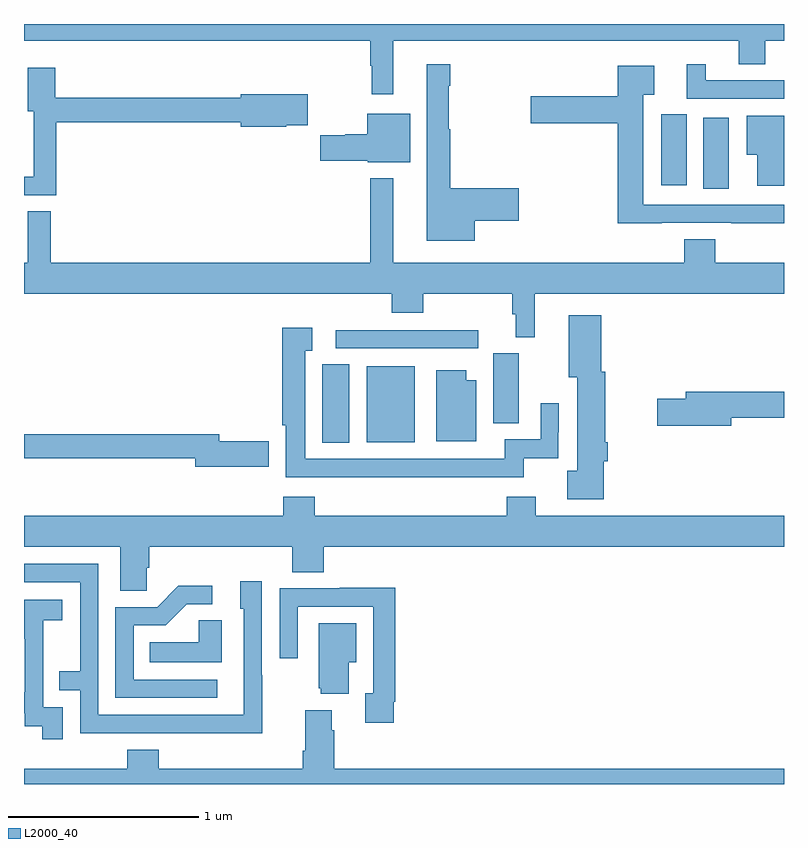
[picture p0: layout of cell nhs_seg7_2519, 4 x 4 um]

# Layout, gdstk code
import gdstk
lib = gdstk.Library(unit=1e-6, precision=1e-09)
def R(c, l, rs):  # rectangles x0, y0, x1, y1
    for r in rs: c.add(gdstk.rectangle(r[:2], r[2:], *l))
def P(c, l, *ps):  # polygons
    for p in ps: c.add(gdstk.Polygon(p, *l))
L2000_40 = (2000, 40)

nhs_seg7_2519 = lib.new_cell('nhs_seg7_2519')
R(nhs_seg7_2519, L2000_40, [(276.569,1035.796,276.712,1036.208), (276.803,1035.8,277.057,1036.198), (277.469,1035.899,277.603,1036.266), (276.642,1036.293,277.39,1036.389), (278.576,1037.134,278.71,1037.506), (278.354,1037.151,278.488,1037.526)])
P(nhs_seg7_2519, L2000_40, [(276.943,1037.912),(278.762,1037.912),(278.762,1037.788),(278.902,1037.788),(278.902,1037.912),(279,1037.912),(279,1038),(275,1038),(275,1037.912),(276.822,1037.912),(276.822,1037.78),(276.829,1037.78),(276.829,1037.631),(276.943,1037.631)],
  [(277.372,1036.964),(277.603,1036.964),(277.603,1037.135),(277.243,1037.135),(277.243,1037.447),(277.235,1037.447),(277.235,1037.675),(277.243,1037.675),(277.243,1037.788),(277.121,1037.788),(277.121,1036.859),(277.372,1036.859)],
  [(279,1037.703),(278.587,1037.703),(278.587,1037.788),(278.489,1037.788),(278.489,1037.607),(279,1037.607)],
  [(278.356,1036.953),(278.722,1036.953),(278.722,1036.952),(279,1036.952),(279,1037.049),(278.26,1037.049),(278.26,1037.627),(278.317,1037.627),(278.317,1037.779),(278.126,1037.779),(278.126,1037.619),(277.668,1037.619),(277.668,1037.477),(278.126,1037.477),(278.126,1036.952),(278.356,1036.952)],
  [(275.17,1037.482),(276.14,1037.482),(276.14,1037.459),(276.38,1037.459),(276.38,1037.468),(276.493,1037.468),(276.493,1037.629),(276.14,1037.629),(276.14,1037.611),(275.165,1037.611),(275.165,1037.77),(275.021,1037.77),(275.021,1037.541),(275.051,1037.541),(275.051,1037.196),(275,1037.196),(275,1037.1),(275.17,1037.1)],
  [(277.033,1037.527),(276.806,1037.527),(276.806,1037.421),(276.69,1037.421),(276.69,1037.414),(276.558,1037.414),(276.558,1037.279),(276.81,1037.279),(276.81,1037.273),(277.033,1037.273)],
  [(279,1037.518),(278.804,1037.518),(278.804,1037.312),(278.858,1037.312),(278.858,1037.148),(279,1037.148)],
  [(277.688,1036.58),(279,1036.58),(279,1036.744),(278.639,1036.744),(278.639,1036.868),(278.474,1036.868),(278.474,1036.744),(276.943,1036.744),(276.943,1037.188),(276.822,1037.188),(276.822,1036.744),(275.14,1036.744),(275.14,1037.015),(275.021,1037.015),(275.021,1036.744),(275,1036.744),(275,1036.58),(276.935,1036.58),(276.935,1036.481),(277.1,1036.481),(277.1,1036.58),(277.57,1036.58),(277.57,1036.472),(277.589,1036.472),(277.589,1036.351),(277.688,1036.351)],
  [(278.051,1035.699),(278.072,1035.699),(278.072,1035.799),(278.059,1035.799),(278.059,1036.171),(278.038,1036.171),(278.038,1036.468),(277.868,1036.468),(277.868,1036.142),(277.913,1036.142),(277.913,1035.648),(277.86,1035.648),(277.86,1035.5),(278.051,1035.5)],
  [(277.629,1035.714),(277.812,1035.714),(277.812,1035.852),(277.815,1035.852),(277.815,1036.003),(277.719,1036.003),(277.719,1035.814),(277.529,1035.814),(277.529,1035.711),(276.481,1035.711),(276.481,1036.281),(276.517,1036.281),(276.517,1036.402),(276.36,1036.402),(276.36,1035.889),(276.377,1035.889),(276.377,1035.614),(277.629,1035.614)],
  [(277.381,1036.126),(277.327,1036.126),(277.327,1036.177),(277.169,1036.177),(277.169,1035.803),(277.381,1035.803)],
  [(278.722,1035.928),(279,1035.928),(279,1036.064),(278.483,1036.064),(278.483,1036.028),(278.334,1036.028),(278.334,1035.886),(278.722,1035.886)],
  [(276.289,1035.805),(276.028,1035.805),(276.028,1035.842),(275,1035.842),(275,1035.714),(275.9,1035.714),(275.9,1035.671),(276.289,1035.671)],
  [(275.646,1035.139),(275.66,1035.139),(275.66,1035.248),(276.413,1035.248),(276.413,1035.115),(276.578,1035.115),(276.578,1035.248),(279,1035.248),(279,1035.412),(277.693,1035.412),(277.693,1035.511),(277.541,1035.511),(277.541,1035.412),(276.53,1035.412),(276.53,1035.511),(276.365,1035.511),(276.365,1035.412),(275,1035.412),(275,1035.248),(275.507,1035.248),(275.507,1035.016),(275.646,1035.016)],
  [(276.255,1034.573),(276.252,1034.573),(276.252,1035.067),(276.137,1035.067),(276.137,1034.922),(276.156,1034.922),(276.156,1034.364),(275.391,1034.364),(275.391,1035.159),(275,1035.159),(275,1035.063),(275.295,1035.063),(275.295,1034.594),(275.185,1034.594),(275.185,1034.493),(275.295,1034.493),(275.295,1034.268),(275.791,1034.268),(275.791,1034.267),(276.255,1034.267)],
  [(276.016,1034.55),(275.577,1034.55),(275.577,1034.835),(275.746,1034.835),(275.857,1034.946),(275.992,1034.946),(275.992,1035.044),(275.813,1035.044),(275.7,1034.931),(275.481,1034.931),(275.481,1034.454),(276.016,1034.454)],
  [(276.946,1034.434),(276.953,1034.434),(276.953,1035.032),(276.661,1035.032),(276.661,1035.03),(276.345,1035.03),(276.345,1034.661),(276.441,1034.661),(276.441,1034.934),(276.837,1034.934),(276.837,1034.478),(276.797,1034.478),(276.797,1034.322),(276.946,1034.322)],
  [(275.205,1034.403),(275.1,1034.403),(275.1,1034.632),(275.102,1034.632),(275.102,1034.861),(275.2,1034.861),(275.2,1034.971),(275.002,1034.971),(275.002,1034.765),(275.003,1034.765),(275.003,1034.482),(275,1034.482),(275,1034.373),(275.004,1034.373),(275.004,1034.305),(275.097,1034.305),(275.097,1034.235),(275.205,1034.235)],
  [(276.04,1034.861),(275.919,1034.861),(275.919,1034.746),(275.662,1034.746),(275.662,1034.642),(276.04,1034.642)],
  [(276.709,1034.642),(276.748,1034.642),(276.748,1034.845),(276.551,1034.845),(276.551,1034.505),(276.563,1034.505),(276.563,1034.474),(276.709,1034.474)],
  [(279,1034.08),(276.632,1034.08),(276.632,1034.282),(276.619,1034.282),(276.619,1034.389),(276.479,1034.389),(276.479,1034.176),(276.467,1034.176),(276.467,1034.08),(275.708,1034.08),(275.708,1034.179),(275.543,1034.179),(275.543,1034.08),(275,1034.08),(275,1034),(279,1034)])

lib.write_gds('nhs_seg7_2519.gds')
